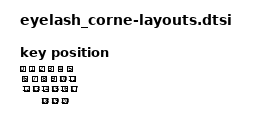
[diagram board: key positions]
/*
 * Physical layout definition for Eyelash Corne
 */

#include <dt-bindings/zmk/physical_layout.h>

default_layout: default_layout {
    compatible = "zmk,physical-layout";
    display-name = "Eyelash Corne";

    /* Use the matrix transform defined in eyelash_corne.dtsi */
    transform = <&default_transform>;

    /*
     * Key positions (example spacing — adjust if desired)
     * Format:
     * <&key_physical_attrs width height x y rotation rx ry>
     */

    keys =
        /* Row 0 */
        <&key_physical_attrs 18 18   0   0   0 0 0>,
        <&key_physical_attrs 18 18  19   0   0 0 0>,
        <&key_physical_attrs 18 18  38   0   0 0 0>,
        <&key_physical_attrs 18 18  57   0   0 0 0>,
        <&key_physical_attrs 18 18  76   0   0 0 0>,
        <&key_physical_attrs 18 18  95   0   0 0 0>,

        /* Row 1 */
        <&key_physical_attrs 18 18   5  20   0 0 0>,
        <&key_physical_attrs 18 18  24  20   0 0 0>,
        <&key_physical_attrs 18 18  43  20   0 0 0>,
        <&key_physical_attrs 18 18  62  20   0 0 0>,
        <&key_physical_attrs 18 18  81  20   0 0 0>,
        <&key_physical_attrs 18 18 100  20   0 0 0>,

        /* Row 2 */
        <&key_physical_attrs 18 18   8  40   0 0 0>,
        <&key_physical_attrs 18 18  27  40   0 0 0>,
        <&key_physical_attrs 18 18  46  40   0 0 0>,
        <&key_physical_attrs 18 18  65  40   0 0 0>,
        <&key_physical_attrs 18 18  84  40   0 0 0>,
        <&key_physical_attrs 18 18 103  40   0 0 0>,

        /* Thumb cluster */
        <&key_physical_attrs 18 18  45  65   0 0 0>,
        <&key_physical_attrs 18 18  65  65   0 0 0>,
        <&key_physical_attrs 18 18  85  65   0 0 0>;
};
